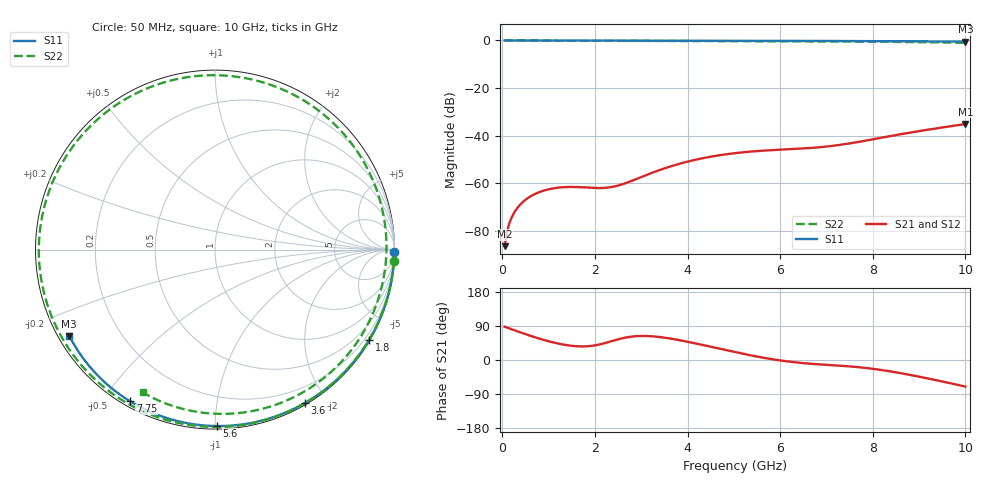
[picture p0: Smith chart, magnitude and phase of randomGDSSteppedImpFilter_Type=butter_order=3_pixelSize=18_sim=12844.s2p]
! freq	dB(S11)	phase(S11)	dB(S12)	phase(S12)
!  dB(S21)	phase(S21)	dB(S22)	phase(S22)
!S-par simulation data
#  GHz  S  DB  R 50
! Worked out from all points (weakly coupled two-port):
!   200 points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, 50 MHz to 10 GHz, reference 50 ohm
!   highest |S21| = -35.07 dB at 10 GHz (marker M1); lowest = -86.3 dB at 50 MHz (marker M2)
!   lowest |S11| = -0.5 dB at 10 GHz (marker M3), VSWR 34.35, Z = 1.56 - j13.7 ohm
!   |S11| at or under -10 dB: nowhere
!   |S22| runs from -1.0 to 0.0 dB; largest |S21 - S12| = 0
!   S11 on the Smith chart (normalised r, x): 50 MHz: open; 1.8 GHz: 0.03, -3.67; 3.6 GHz: 0.02, -1.75; 5.6 GHz: 0.02, -1.01; 7.75 GHz: 0.02, -0.59; 10 GHz: 0.03, -0.27
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0.05  -0.00 -0.9  -86.34 87.8  -86.34 87.8  -0.00 -3.7
0.1  -0.00 -1.7  -80.34 85.6  -80.34 85.6  -0.01 -7.3
0.2  -0.01 -3.5  -74.38 81.1  -74.38 81.1  -0.02 -14.6
0.35  -0.01 -6.0  -69.70 74.6  -69.70 74.6  -0.04 -25.3
0.65  -0.01 -11.1  -64.98 62.1  -64.98 62.1  -0.06 -46.3
1.2  -0.03 -20.5  -61.80 43.6  -61.80 43.6  -0.09 -82.3
1.75  -0.04 -29.7  -61.67 35.8  -61.67 35.8  -0.12 -114.6
1.8  -0.04 -30.5  -61.72 36.0  -61.72 36.0  -0.12 -117.3
2.2  -0.05 -37.1  -61.89 44.0  -61.89 44.0  -0.14 -138.4
2.6  -0.06 -43.6  -60.31 57.5  -60.31 57.5  -0.15 -158.2
3.4  -0.07 -56.4  -54.36 60.6  -54.36 60.6  -0.17 164.6
3.6  -0.08 -59.5  -53.06 57.2  -53.06 57.2  -0.18 155.5
4.35  -0.10 -71.0  -49.34 39.0  -49.34 39.0  -0.21 121.6
5.05  -0.13 -81.4  -47.25 20.2  -47.25 20.2  -0.25 89.4
5.6  -0.15 -89.4  -46.30 6.8  -46.30 6.8  -0.29 63.7
6.2  -0.18 -97.9  -45.65 -4.3  -45.65 -4.3  -0.33 35.4
6.7  -0.20 -104.9  -45.06 -10.3  -45.06 -10.3  -0.37 12.3
7.2  -0.24 -111.7  -44.07 -14.3  -44.07 -14.3  -0.42 -10.2
7.75  -0.28 -119.2  -42.38 -19.7  -42.38 -19.7  -0.49 -33.6
8.35  -0.33 -127.2  -40.24 -29.5  -40.24 -29.5  -0.59 -57.6
9.15  -0.41 -137.9  -37.58 -47.7  -37.58 -47.7  -0.76 -87.3
10  -0.51 -149.4  -35.07 -70.2  -35.07 -70.2  -0.99 -116.8
